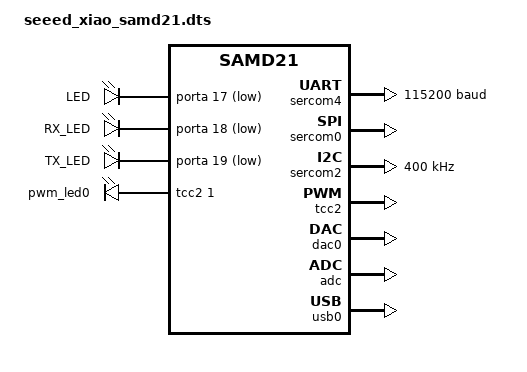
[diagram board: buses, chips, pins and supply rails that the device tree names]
/*
 * Copyright (c) 2023 TiaC Systems
 * Copyright (c) 2020 Google LLC.
 *
 * SPDX-License-Identifier: Apache-2.0
 */

/dts-v1/;
#include <atmel/samd21.dtsi>
#include "seeed_xiao_samd21-pinctrl.dtsi"
#include "seeed_xiao_connector.dtsi"

#include <zephyr/dt-bindings/gpio/gpio.h>
#include <zephyr/dt-bindings/pwm/pwm.h>

/ {
	chosen {
		zephyr,sram = &sram0;
		zephyr,flash = &flash0;
		zephyr,code-partition = &code_partition;
	};

	leds {
		compatible = "gpio-leds";
		led: led_0 {
			gpios = <&porta 17 GPIO_ACTIVE_LOW>;
			label = "LED";
		};
		rx_led: led_1 {
			gpios = <&porta 18 GPIO_ACTIVE_LOW>;
			label = "RX_LED";
		};
		tx_led: led_2 {
			gpios = <&porta 19 GPIO_ACTIVE_LOW>;
			label = "TX_LED";
		};
	};

	pwmleds {
		compatible = "pwm-leds";

		pwm_led0: pwm_led_0 {
			pwms = <&tcc2 1 PWM_MSEC(20)>;
		};
	};

	/* These aliases are provided for compatibility with samples */
	aliases {
		led0 = &led;
		led1 = &rx_led;
		led2 = &tx_led;
		pwm-led0 = &pwm_led0;
	};
};

&cpu0 {
	clock-frequency = <48000000>;
};

&sercom4 {
	status = "okay";
	compatible = "atmel,sam0-uart";
	current-speed = <115200>;
	rxpo = <1>;
	txpo = <0>;

	pinctrl-0 = <&sercom4_uart_default>;
	pinctrl-names = "default";
};

&sercom0 {
	status = "okay";
	compatible = "atmel,sam0-spi";
	dipo = <1>;
	dopo = <1>;
	#address-cells = <1>;
	#size-cells = <0>;

	pinctrl-0 = <&sercom0_spi_default>;
	pinctrl-names = "default";
};

&sercom2 {
	status = "okay";
	compatible = "atmel,sam0-i2c";
	clock-frequency = <I2C_BITRATE_FAST>;
	#address-cells = <1>;
	#size-cells = <0>;

	pinctrl-0 = <&sercom2_i2c_default>;
	pinctrl-names = "default";
};

&tcc2 {
	status = "okay";
	compatible = "atmel,sam0-tcc-pwm";
	/* Gives a maximum period of 1.4 s */
	prescaler = <1024>;
	#pwm-cells = <2>;

	pinctrl-0 = <&tcc2_pwm_default>;
	pinctrl-names = "default";
};

&dac0 {
	status = "okay";

	pinctrl-0 = <&dac_default>;
	pinctrl-names = "default";
};

&adc {
	status = "okay";

	pinctrl-0 = <&adc_default>;
	pinctrl-names = "default";
};

&flash0 {
	partitions {
		compatible = "fixed-partitions";
		#address-cells = <1>;
		#size-cells = <1>;

		boot_partition: partition@0 {
			label = "uf2";
			reg = <0x00000000 DT_SIZE_K(8)>;
			read-only;
		};

		code_partition: partition@2000 {
			label = "code";
			reg = <0x2000 DT_SIZE_K(256-8-16)>;
			read-only;
		};

		/*
		 * The final 16 KiB is reserved for the application.
		 * Storage partition may be used by FCB or LittleFS.
		 */
		storage_partition: partition@3c000 {
			label = "storage";
			reg = <0x0003c000 DT_SIZE_K(16)>;
		};
	};
};

zephyr_udc0: &usb0 {
	status = "okay";

	pinctrl-0 = <&usb_dc_default>;
	pinctrl-names = "default";
};
